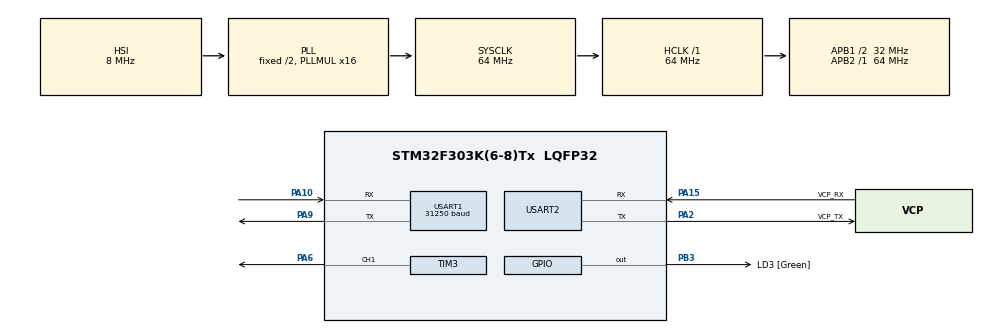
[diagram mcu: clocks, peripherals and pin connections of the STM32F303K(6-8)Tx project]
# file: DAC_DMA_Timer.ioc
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Mcu.Family=STM32F3
Mcu.Name=STM32F303K(6-8)Tx
Mcu.Package=LQFP32
NVIC.PriorityGroup=NVIC_PRIORITYGROUP_4
NVIC.USART1_IRQn=true\:0\:0\:false\:false\:true\:true
PA10.Mode=Asynchronous
PA10.Signal=USART1_RX
PA13.GPIO_Label=SWDIO
PA13.Mode=Serial_Wire
PA13.Signal=SYS_JTMS-SWDIO
PA14.GPIO_Label=SWCLK
PA14.Mode=Serial_Wire
PA14.Signal=SYS_JTCK-SWCLK
PA15.GPIO_Label=VCP_RX
PA15.Mode=Asynchronous
PA15.Signal=USART2_RX
PA2.GPIO_Label=VCP_TX
PA2.Mode=Asynchronous
PA2.Signal=USART2_TX
PA6.Signal=S_TIM3_CH1
PA9.Mode=Asynchronous
PA9.Signal=USART1_TX
PB3.GPIO_Label=LD3 [Green]
PB3.Signal=GPIO_Output
PF0\ /\ OSC_IN.GPIO_Label=MCO
PF0\ /\ OSC_IN.Mode=HSE-External-Clock-Source
PF0\ /\ OSC_IN.Signal=RCC_OSC_IN
ProjectManager.HeapSize=0x200
ProjectManager.StackSize=0x400
ProjectManager.TargetToolchain=TrueSTUDIO
RCC.AHBFreq_Value=64000000
RCC.APB1CLKDivider=RCC_HCLK_DIV2
RCC.APB1Freq_Value=32000000
RCC.APB1TimFreq_Value=64000000
RCC.APB2Freq_Value=64000000
RCC.APB2TimFreq_Value=64000000
RCC.CortexFreq_Value=64000000
RCC.HCLKFreq_Value=64000000
RCC.HSE_VALUE=8000000
RCC.HSI_VALUE=8000000
RCC.PLLMUL=RCC_PLL_MUL16
RCC.SYSCLKFreq_VALUE=64000000
RCC.SYSCLKSourceVirtual=RCC_SYSCLKSOURCE_PLLCLK
SH.S_TIM3_CH1.0=TIM3_CH1,PWM Generation1 CH1
TIM3.Channel-PWM\ Generation1\ CH1=TIM_CHANNEL_1
TIM3.Period=7272
TIM3.Prescaler=319
TIM3.Pulse-PWM\ Generation1\ CH1=4000
USART1.BaudRate=31250
USART1.Mode=MODE_RX
USART1.VirtualMode-Asynchronous=VM_ASYNC
USART2.VirtualMode-Asynchronous=VM_ASYNC
VP_TIM3_VS_ClockSourceINT.Mode=Internal
board=NUCLEO-F303K8

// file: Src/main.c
/* USER CODE BEGIN Header */
/**
  ******************************************************************************
  * @file           : main.c
  * @brief          : Main program body
  ******************************************************************************
  ** This notice applies to any and all portions of this file
  * that are not between comment pairs USER CODE BEGIN and
  * USER CODE END. Other portions of this file, whether
  * inserted by the user or by software development tools
  * are owned by their respective copyright owners.
  *
  * COPYRIGHT(c) 2019 STMicroelectronics
  *
  * Redistribution and use in source and binary forms, with or without modification,
  * are permitted provided that the following conditions are met:
  *   1. Redistributions of source code must retain the above copyright notice,
  *      this list of conditions and the following disclaimer.
  *   2. Redistributions in binary form must reproduce the above copyright notice,
  *      this list of conditions and the following disclaimer in the documentation
  *      and/or other materials provided with the distribution.
  *   3. Neither the name of STMicroelectronics nor the names of its contributors
  *      may be used to endorse or promote products derived from this software
  *      without specific prior written permission.
  *
  * THIS SOFTWARE IS PROVIDED BY THE COPYRIGHT HOLDERS AND CONTRIBUTORS "AS IS"
  * AND ANY EXPRESS OR IMPLIED WARRANTIES, INCLUDING, BUT NOT LIMITED TO, THE
  * IMPLIED WARRANTIES OF MERCHANTABILITY AND FITNESS FOR A PARTICULAR PURPOSE ARE
  * DISCLAIMED. IN NO EVENT SHALL THE COPYRIGHT HOLDER OR CONTRIBUTORS BE LIABLE
  * FOR ANY DIRECT, INDIRECT, INCIDENTAL, SPECIAL, EXEMPLARY, OR CONSEQUENTIAL
  * DAMAGES (INCLUDING, BUT NOT LIMITED TO, PROCUREMENT OF SUBSTITUTE GOODS OR
  * SERVICES; LOSS OF USE, DATA, OR PROFITS; OR BUSINESS INTERRUPTION) HOWEVER
  * CAUSED AND ON ANY THEORY OF LIABILITY, WHETHER IN CONTRACT, STRICT LIABILITY,
  * OR TORT (INCLUDING NEGLIGENCE OR OTHERWISE) ARISING IN ANY WAY OUT OF THE USE
  * OF THIS SOFTWARE, EVEN IF ADVISED OF THE POSSIBILITY OF SUCH DAMAGE.
  *
  ******************************************************************************
  */
/* USER CODE END Header */

#include "main.h"

/* USER CODE BEGIN Includes */
#include "math.h"
/* USER CODE END Includes */

/* USER CODE BEGIN PD */
#define F_CLK 64000000
/* USER CODE END PD */

TIM_HandleTypeDef htim3;

UART_HandleTypeDef huart1;
UART_HandleTypeDef huart2;

/* USER CODE BEGIN PV */
static uint16_t timers_notas[89];
uint8_t mensaje_MIDI[3];

/* USER CODE END PV */

void SystemClock_Config(void);
static void MX_GPIO_Init(void);
static void MX_USART2_UART_Init(void);
static void MX_TIM3_Init(void);
static void MX_USART1_UART_Init(void);
/* USER CODE BEGIN PFP */
void calculo_notas(void);
void start_nota(uint8_t nota);
void stop_nota(void);
void tx_UART_int(UART_HandleTypeDef *huart, int data, uint32_t Timeout);
void tx_byte(UART_HandleTypeDef *huart, uint8_t data, uint32_t Timeout);

/* USER CODE END PFP */

int main(void)
{

  /* MCU Configuration--------------------------------------------------------*/

  /* Reset of all peripherals, Initializes the Flash interface and the Systick. */
  HAL_Init();

  /* Configure the system clock */
  SystemClock_Config();

  /* Initialize all configured peripherals */
  MX_GPIO_Init();
  MX_USART2_UART_Init();
  MX_TIM3_Init();
  MX_USART1_UART_Init();
  /* USER CODE BEGIN 2 */
  calculo_notas();
  //HAL_TIM_PWM_Start(&htim3, TIM_CHANNEL_1);

  //start_nota(88);

  /* USER CODE END 2 */

  /* Infinite loop */
  while (1)
  {

  }
}

void SystemClock_Config(void)
{
  RCC_OscInitTypeDef RCC_OscInitStruct = {0};
  RCC_ClkInitTypeDef RCC_ClkInitStruct = {0};
  RCC_PeriphCLKInitTypeDef PeriphClkInit = {0};

  /**Initializes the CPU, AHB and APB busses clocks
  */
  RCC_OscInitStruct.OscillatorType = RCC_OSCILLATORTYPE_HSI;
  RCC_OscInitStruct.HSIState = RCC_HSI_ON;
  RCC_OscInitStruct.HSICalibrationValue = RCC_HSICALIBRATION_DEFAULT;
  RCC_OscInitStruct.PLL.PLLState = RCC_PLL_ON;
  RCC_OscInitStruct.PLL.PLLSource = RCC_PLLSOURCE_HSI;
  RCC_OscInitStruct.PLL.PLLMUL = RCC_PLL_MUL16;
  if (HAL_RCC_OscConfig(&RCC_OscInitStruct) != HAL_OK)
  {
    Error_Handler();
  }
  /**Initializes the CPU, AHB and APB busses clocks
  */
  RCC_ClkInitStruct.ClockType = RCC_CLOCKTYPE_HCLK|RCC_CLOCKTYPE_SYSCLK
                              |RCC_CLOCKTYPE_PCLK1|RCC_CLOCKTYPE_PCLK2;
  RCC_ClkInitStruct.SYSCLKSource = RCC_SYSCLKSOURCE_PLLCLK;
  RCC_ClkInitStruct.AHBCLKDivider = RCC_SYSCLK_DIV1;
  RCC_ClkInitStruct.APB1CLKDivider = RCC_HCLK_DIV2;
  RCC_ClkInitStruct.APB2CLKDivider = RCC_HCLK_DIV1;

  if (HAL_RCC_ClockConfig(&RCC_ClkInitStruct, FLASH_LATENCY_2) != HAL_OK)
  {
    Error_Handler();
  }
  PeriphClkInit.PeriphClockSelection = RCC_PERIPHCLK_USART1;
  PeriphClkInit.Usart1ClockSelection = RCC_USART1CLKSOURCE_PCLK1;
  if (HAL_RCCEx_PeriphCLKConfig(&PeriphClkInit) != HAL_OK)
  {
    Error_Handler();
  }
}

static void MX_TIM3_Init(void)
{

  TIM_ClockConfigTypeDef sClockSourceConfig = {0};
  TIM_MasterConfigTypeDef sMasterConfig = {0};
  TIM_OC_InitTypeDef sConfigOC = {0};

  htim3.Instance = TIM3;
  htim3.Init.Prescaler = 319;
  htim3.Init.CounterMode = TIM_COUNTERMODE_UP;
  htim3.Init.Period = 7272;
  htim3.Init.ClockDivision = TIM_CLOCKDIVISION_DIV1;
  htim3.Init.AutoReloadPreload = TIM_AUTORELOAD_PRELOAD_DISABLE;
  if (HAL_TIM_Base_Init(&htim3) != HAL_OK)
  {
    Error_Handler();
  }
  sClockSourceConfig.ClockSource = TIM_CLOCKSOURCE_INTERNAL;
  if (HAL_TIM_ConfigClockSource(&htim3, &sClockSourceConfig) != HAL_OK)
  {
    Error_Handler();
  }
  if (HAL_TIM_PWM_Init(&htim3) != HAL_OK)
  {
    Error_Handler();
  }
  sMasterConfig.MasterOutputTrigger = TIM_TRGO_RESET;
  sMasterConfig.MasterSlaveMode = TIM_MASTERSLAVEMODE_DISABLE;
  if (HAL_TIMEx_MasterConfigSynchronization(&htim3, &sMasterConfig) != HAL_OK)
  {
    Error_Handler();
  }
  sConfigOC.OCMode = TIM_OCMODE_PWM1;
  sConfigOC.Pulse = 4000;
  sConfigOC.OCPolarity = TIM_OCPOLARITY_HIGH;
  sConfigOC.OCFastMode = TIM_OCFAST_DISABLE;
  if (HAL_TIM_PWM_ConfigChannel(&htim3, &sConfigOC, TIM_CHANNEL_1) != HAL_OK)
  {
    Error_Handler();
  }
  HAL_TIM_MspPostInit(&htim3);

}

static void MX_USART1_UART_Init(void)
{

  huart1.Instance = USART1;
  huart1.Init.BaudRate = 31250;
  huart1.Init.WordLength = UART_WORDLENGTH_8B;
  huart1.Init.StopBits = UART_STOPBITS_1;
  huart1.Init.Parity = UART_PARITY_NONE;
  huart1.Init.Mode = UART_MODE_RX;
  huart1.Init.HwFlowCtl = UART_HWCONTROL_NONE;
  huart1.Init.OverSampling = UART_OVERSAMPLING_16;
  huart1.Init.OneBitSampling = UART_ONE_BIT_SAMPLE_DISABLE;
  huart1.AdvancedInit.AdvFeatureInit = UART_ADVFEATURE_NO_INIT;
  if (HAL_UART_Init(&huart1) != HAL_OK)
  {
    Error_Handler();
  }

}

static void MX_USART2_UART_Init(void)
{

  huart2.Instance = USART2;
  huart2.Init.BaudRate = 38400;
  huart2.Init.WordLength = UART_WORDLENGTH_8B;
  huart2.Init.StopBits = UART_STOPBITS_1;
  huart2.Init.Parity = UART_PARITY_NONE;
  huart2.Init.Mode = UART_MODE_TX_RX;
  huart2.Init.HwFlowCtl = UART_HWCONTROL_NONE;
  huart2.Init.OverSampling = UART_OVERSAMPLING_16;
  huart2.Init.OneBitSampling = UART_ONE_BIT_SAMPLE_DISABLE;
  huart2.AdvancedInit.AdvFeatureInit = UART_ADVFEATURE_NO_INIT;
  if (HAL_UART_Init(&huart2) != HAL_OK)
  {
    Error_Handler();
  }

}

static void MX_GPIO_Init(void)
{
  GPIO_InitTypeDef GPIO_InitStruct = {0};

  /* GPIO Ports Clock Enable */
  __HAL_RCC_GPIOF_CLK_ENABLE();
  __HAL_RCC_GPIOA_CLK_ENABLE();
  __HAL_RCC_GPIOB_CLK_ENABLE();

  /*Configure GPIO pin Output Level */
  HAL_GPIO_WritePin(LD3_GPIO_Port, LD3_Pin, GPIO_PIN_RESET);

  /*Configure GPIO pin : LD3_Pin */
  GPIO_InitStruct.Pin = LD3_Pin;
  GPIO_InitStruct.Mode = GPIO_MODE_OUTPUT_PP;
  GPIO_InitStruct.Pull = GPIO_NOPULL;
  GPIO_InitStruct.Speed = GPIO_SPEED_FREQ_LOW;
  HAL_GPIO_Init(LD3_GPIO_Port, &GPIO_InitStruct);

}

/* USER CODE BEGIN 4 */
// Calcula todas las notas (1-88) y sus respectivos periodos para el timer
void calculo_notas(void){
	for (uint8_t i=1;i<89;i++){
		float f_nota = 27.50 * pow(1.059463094, i-1);
		timers_notas[i] = round(F_CLK/320/f_nota);
	}
}

void start_nota(uint8_t nota){
	__HAL_TIM_SET_AUTORELOAD(&htim3, timers_notas[nota]-1); // Ajustamos el timer adecuado
	__HAL_TIM_SET_COMPARE(&htim3, TIM_CHANNEL_1, htim3.Init.Period - (timers_notas[nota]-1)/2); //Ajustamos el duty cycle a 1/2, se controlarА externamente con un ADC
	HAL_TIM_PWM_Start(&htim3, TIM_CHANNEL_1);
}

void stop_nota(void) {
	HAL_TIM_PWM_Stop(&htim3, TIM_CHANNEL_1);
}

// Atencion a la interrupciСn de la UART1, cuando se recibe un mensaje MIDI salta la interrupcion
void HAL_UART_RxCpltCallback(UART_HandleTypeDef *huart) {

	// Trasmitimos los bytes recibidos por la UART2, por pantalla
	for(uint8_t i=0;i<sizeof(mensaje_MIDI);i++){
		tx_byte(&huart2, mensaje_MIDI[i], 10);
	}
	// Analizamos el primer byte recibido. Si empieza por 1001, start nota
	if ((mensaje_MIDI[0]>>4) == 0b1001){
		uint8_t nota = mensaje_MIDI[1]-20; // Obtenemos la nota MIDI, le restamos 20 para que coincida con nuestro teclado
		start_nota(nota);
	}
	else {	// Si no empieza por 1001, es un stop nota
		stop_nota();
	}
	__HAL_UART_ENABLE_IT(&huart1, UART_IT_RXNE); // Volvemos a activar las interrupciones de la UART1

}

void tx_UART_int(UART_HandleTypeDef *huart, int data, uint32_t Timeout)
{

	int size = 1;
	uint8_t negativo = 0;

	if (data < 0) {	// Si los pulsos
		data = -data;
		negativo = 1;
	}

	int numero = data;

	while(numero > 9) {
	  numero =  numero/10;
	  size++;
	}

	char data_char[size];		// String de chars
	uint8_t data_tx[size];	// String de uint8_t

	sprintf(data_char,"%d", data);	// Cada numero del int en un char

	for(uint8_t i=0; i<size; i++ ) {			// Casting de char a uint8_t
		data_tx[i] = (uint8_t) data_char[i];
	}

	if (negativo) {		// Si el numero es negativo, transmite un "-" antes
		uint8_t menos[] = "-";
		HAL_UART_Transmit(huart, menos, 1, 10);
	}
	HAL_UART_Transmit(huart,data_tx,sizeof(data_tx), 10);	// TX por UART del array de uint8_t
	uint8_t salto[] = "\r\n";
	HAL_UART_Transmit(huart, salto, 2, 10);
}

void tx_byte(UART_HandleTypeDef *huart, uint8_t data, uint32_t Timeout){

	uint8_t byte[8];
	for(uint8_t i=0;i<8;i++){
		if((data>>(7-i) & 0x01)==1){
			byte[i]=0x31;
		}
		if((data>>(7-i) & 0x01)==0){
			byte[i]=0x30;
		}
	}
HAL_UART_Transmit(huart, byte, sizeof(byte), 10);

uint8_t salto[] = "\r\n";
HAL_UART_Transmit(huart, salto, 2, 10);
}
/* USER CODE END 4 */

void Error_Handler(void)
{
}

/************************ (C) COPYRIGHT STMicroelectronics *****END OF FILE****/
